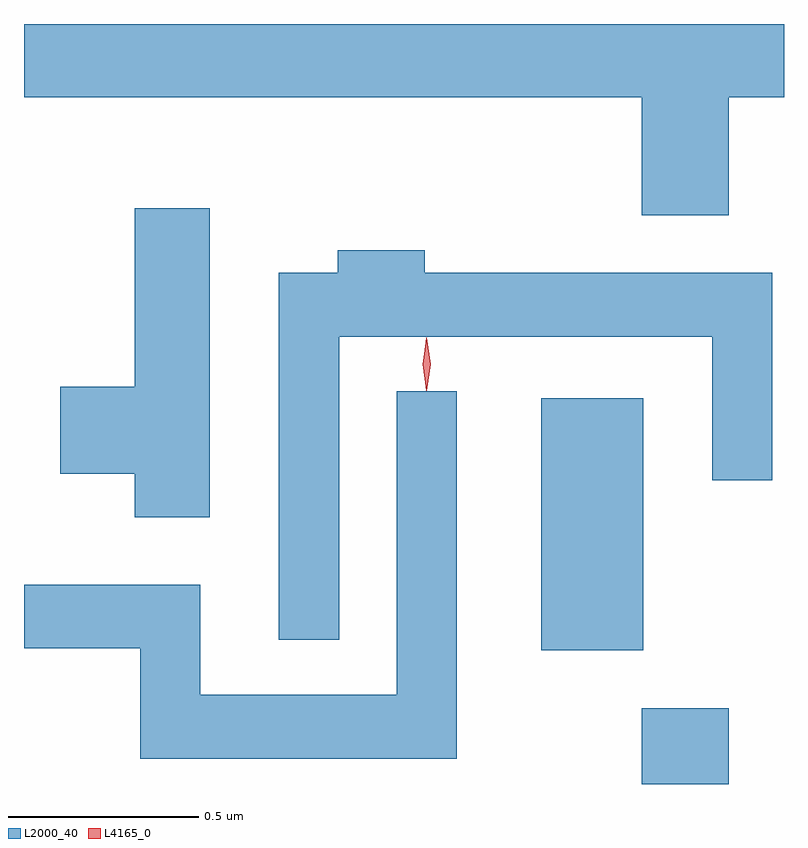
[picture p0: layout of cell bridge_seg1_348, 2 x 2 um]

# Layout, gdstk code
import gdstk
lib = gdstk.Library(unit=1e-6, precision=1e-09)
def R(c, l, rs):  # rectangles x0, y0, x1, y1
    for r in rs: c.add(gdstk.rectangle(r[:2], r[2:], *l))
def P(c, l, *ps):  # polygons
    for p in ps: c.add(gdstk.Polygon(p, *l))
L2000_40 = (2000, 40)
L4165_0 = (4165, 0)

bridge_seg1_348 = lib.new_cell('bridge_seg1_348')
R(bridge_seg1_348, L2000_40, [(909.641,880.009,909.869,880.209), (909.376,880.361,909.644,881.024)])
P(bridge_seg1_348, L2000_40, [(909.869,881.816),(910.015,881.816),(910.015,882.009),(908.015,882.009),(908.015,881.816),(909.641,881.816),(909.641,881.506),(909.869,881.506)],
  [(908.504,881.524),(908.306,881.524),(908.306,881.054),(908.111,881.054),(908.111,880.826),(908.306,880.826),(908.306,880.711),(908.504,880.711)],
  [(908.844,881.186),(909.826,881.186),(909.826,880.808),(909.984,880.808),(909.984,881.354),(909.069,881.354),(909.069,881.414),(908.841,881.414),(908.841,881.354),(908.686,881.354),(908.686,880.388),(908.844,880.388)],
  [(909.154,881.043),(908.996,881.043),(908.996,880.244),(908.479,880.244),(908.479,880.534),(908.015,880.534),(908.015,880.366),(908.321,880.366),(908.321,880.076),(909.154,880.076)])
P(bridge_seg1_348, L4165_0, [(909.074,881.047),(909.064,881.114),(909.074,881.18),(909.074,881.18),(909.075,881.18),(909.084,881.114),(909.075,881.047),(909.075,881.047)],
  [(909.074,881.044),(909.065,881.114),(909.074,881.183),(909.075,881.183),(909.075,881.183),(909.085,881.114),(909.075,881.044),(909.075,881.044)])

lib.write_gds('bridge_seg1_348.gds')
